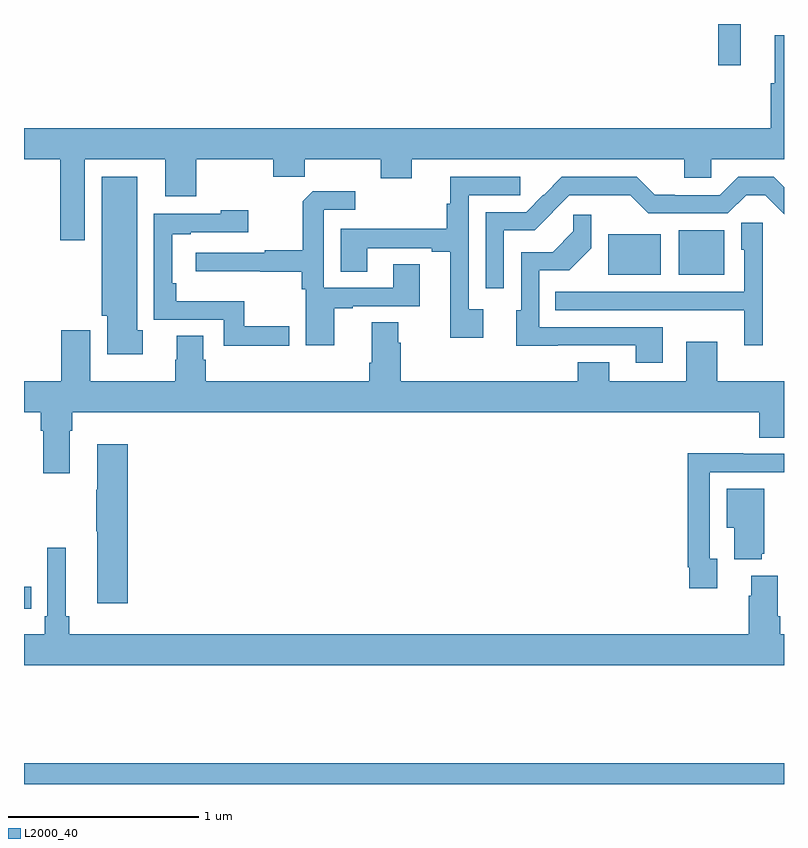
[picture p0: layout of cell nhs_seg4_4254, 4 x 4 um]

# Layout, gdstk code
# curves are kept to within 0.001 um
import gdstk
lib = gdstk.Library(unit=1e-6, precision=1e-09)
def R(c, l, rs):  # rectangles x0, y0, x1, y1
    for r in rs: c.add(gdstk.rectangle(r[:2], r[2:], *l))
def P(c, l, *ps):  # polygons
    for p in ps: c.add(gdstk.Polygon(p, *l))
L2000_40 = (2000, 40)

nhs_seg4_4254 = lib.new_cell('nhs_seg4_4254')
R(nhs_seg4_4254, L2000_40, [(339,758.9,343,759.008), (339,759.822,339.038,759.938), (342.074,761.579,342.352,761.794), (342.446,761.579,342.685,761.815), (342.655,762.684,342.773,762.9)])
P(nhs_seg4_4254, L2000_40, [(339,762.188),(339.191,762.188),(339.191,761.763),(339.319,761.763),(339.319,762.188),(339.743,762.188),(339.743,761.994),(339.907,761.994),(339.907,762.188),(340.313,762.188),(340.313,762.095),(340.477,762.095),(340.477,762.188),(340.877,762.188),(340.877,762.089),(341.041,762.089),(341.041,762.188),(342.476,762.188),(342.476,762.09),(342.618,762.09),(342.618,762.188),(343,762.188),(343,762.841),(342.95,762.841),(342.95,762.588),(342.931,762.588),(342.931,762.352),(339,762.352)],
  [(339.625,761.288),(339.595,761.288),(339.595,762.097),(339.41,762.097),(339.41,761.364),(339.437,761.364),(339.437,761.162),(339.625,761.162)],
  [(341.416,761.398),(341.34,761.398),(341.34,762),(341.613,762),(341.613,762.096),(341.243,762.096),(341.243,761.954),(341.224,761.954),(341.224,761.822),(340.667,761.822),(340.667,761.596),(340.807,761.596),(340.807,761.721),(341.147,761.721),(341.147,761.701),(341.243,761.701),(341.243,761.25),(341.416,761.25)],
  [(341.526,761.814),(341.689,761.814),(341.783,761.908),(341.781,761.91),(341.871,762),(342.191,761.999),(342.285,761.904),(342.705,761.904),(342.8,761.999),(342.901,761.999),(343,761.9),(343,762.042),(342.946,762.096),(342.759,762.096),(342.663,762),(342.424,762),(342.424,762.002),(342.32,762.002),(342.225,762.096),(341.831,762.096),(341.643,761.91),(341.43,761.91),(341.43,761.508),(341.526,761.508)],
  [(340.633,761.403),(340.729,761.403),(340.729,761.415),(341.083,761.415),(341.083,761.636),(340.943,761.636),(340.943,761.511),(340.578,761.511),(340.578,761.922),(340.744,761.922),(340.744,762.019),(340.519,762.019),(340.467,761.967),(340.467,761.71),(340.267,761.71),(340.267,761.697),(339.903,761.697),(339.903,761.6),(340.243,761.6),(340.243,761.596),(340.462,761.596),(340.462,761.504),(340.482,761.504),(340.482,761.208),(340.633,761.208)],
  [(340.396,761.309),(340.159,761.309),(340.159,761.44),(339.8,761.44),(339.8,761.536),(339.78,761.536),(339.78,761.793),(339.877,761.793),(339.877,761.805),(340.18,761.805),(340.18,761.92),(340.035,761.92),(340.035,761.901),(339.684,761.901),(339.684,761.343),(340.05,761.343),(340.05,761.207),(340.396,761.207)],
  [(342.361,761.304),(341.712,761.304),(341.712,761.604),(341.869,761.604),(341.985,761.72),(341.985,761.896),(341.89,761.896),(341.89,761.808),(341.782,761.7),(341.616,761.7),(341.616,761.394),(341.591,761.394),(341.591,761.207),(342.221,761.208),(342.221,761.118),(342.361,761.118)],
  [(342.888,761.855),(342.776,761.855),(342.776,761.712),(342.792,761.712),(342.792,761.49),(341.797,761.49),(341.797,761.394),(342.457,761.394),(342.457,761.393),(342.791,761.393),(342.791,761.208),(342.888,761.208)],
  [(342.485,761.227),(342.485,761.02),(342.079,761.02),(342.079,761.119),(341.915,761.119),(341.915,761.02),(340.982,761.02),(340.982,761.222),(340.969,761.222),(340.969,761.33),(340.829,761.33),(340.829,761.116),(340.817,761.116),(340.817,761.02),(339.956,761.02),(339.956,761.133),(339.943,761.133),(339.943,761.258),(339.803,761.258),(339.803,761.133),(339.796,761.133),(339.796,761.02),(339.349,761.02),(339.349,761.287),(339.197,761.287),(339.197,761.02),(339,761.02),(339,760.856),(339.089,760.856),(339.089,760.76),(339.101,760.76),(339.101,760.536),(339.241,760.536),(339.241,760.76),(339.254,760.76),(339.254,760.856),(342.869,760.856),(342.869,760.723),(343,760.723),(343,761.02),(342.649,761.02),(342.649,761.227)],
  [(339.545,760.687),(339.386,760.687),(339.386,760.448),(339.379,760.448),(339.379,760.231),(339.386,760.231),(339.386,759.852),(339.545,759.852)],
  [(342.649,760.086),(342.609,760.086),(342.609,760.542),(343,760.542),(343,760.638),(342.785,760.638),(342.785,760.64),(342.493,760.64),(342.493,760.042),(342.501,760.042),(342.501,759.93),(342.649,759.93)],
  [(342.884,760.113),(342.895,760.113),(342.895,760.453),(342.698,760.453),(342.698,760.25),(342.737,760.25),(342.737,760.082),(342.884,760.082)],
  [(343,759.688),(342.98,759.688),(342.98,759.784),(342.967,759.784),(342.967,759.997),(342.827,759.997),(342.827,759.89),(342.815,759.89),(342.815,759.688),(339.239,759.688),(339.239,759.784),(339.22,759.784),(339.22,760.144),(339.123,760.144),(339.123,759.784),(339.11,759.784),(339.11,759.688),(339,759.688),(339,759.524),(343,759.524)])

lib.write_gds('nhs_seg4_4254.gds')
